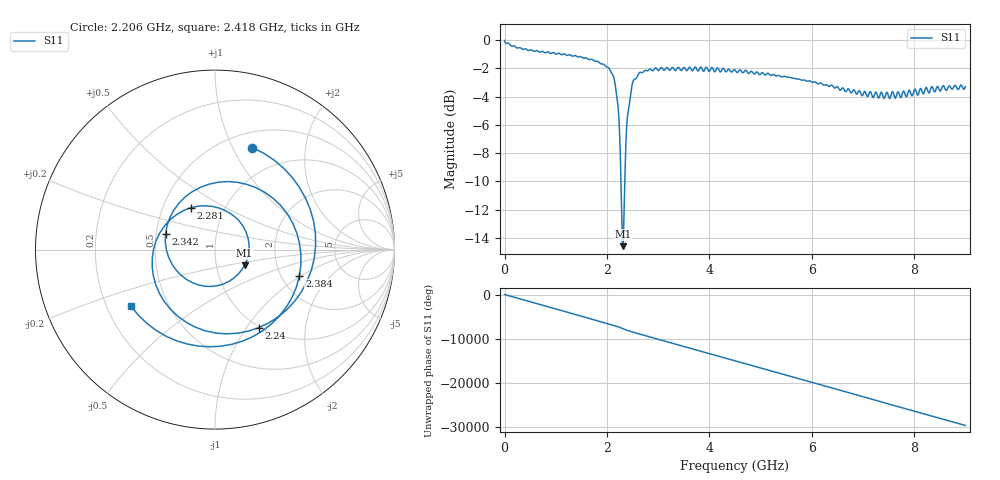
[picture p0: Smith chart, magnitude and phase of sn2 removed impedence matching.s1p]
# Hz S DB R 50
! CMT, C1209, 21460007, 21.4.4/2
! Date: 4/14/2023 1:23:20 PM
! Data: Format (Calibration Info)
! Freq	S11:dB/Ang(--)
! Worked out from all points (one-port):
!   5000 points, 100 kHz to 9 GHz, reference 50 ohm
!   lowest |S11| = -14.6 dB at 2.31 GHz (marker M1), VSWR 1.46, Z = 68.4 - j12.5 ohm
!   |S11| at or under -10 dB: 2.273 GHz to 2.348 GHz (74.57 MHz wide, 3.23 % of centre)
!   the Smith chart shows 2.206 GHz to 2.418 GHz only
!   S11 on the Smith chart (normalised r, x): 2.206 GHz: 0.67, +1.20; 2.24 GHz: 0.99, -1.14; 2.281 GHz: 0.69, +0.35; 2.342 GHz: 0.56, +0.11; 2.384 GHz: 2.51, -0.97; 2.418 GHz: 0.30, -0.28
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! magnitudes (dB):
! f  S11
! 100 kHz  0.0
! 353 MHz  -0.6
! 1.125 GHz  -1.0
! 1.705 GHz  -1.4
! 2.016 GHz  -1.9
! 2.13 GHz  -2.6
! 2.173 GHz  -3.5
! 2.206 GHz  -4.4
! 2.224 GHz  -5.0
! 2.24 GHz  -6.0
! 2.251 GHz  -7.0
! 2.281 GHz  -11.4
! 2.296 GHz  -13.6
! 2.31 GHz  -14.6
! 2.326 GHz  -13.3
! 2.342 GHz  -10.8
! 2.384 GHz  -6.1
! 2.418 GHz  -5.0
! 2.461 GHz  -3.8
! 2.504 GHz  -3.0
! 2.632 GHz  -2.3
! 3.376 GHz  -2.0
! 4.501 GHz  -2.1
! 5.626 GHz  -2.7
! 6.751 GHz  -3.7
! 7.412 GHz  -4.1
! 7.877 GHz  -3.7
! 9 GHz  -3.3
